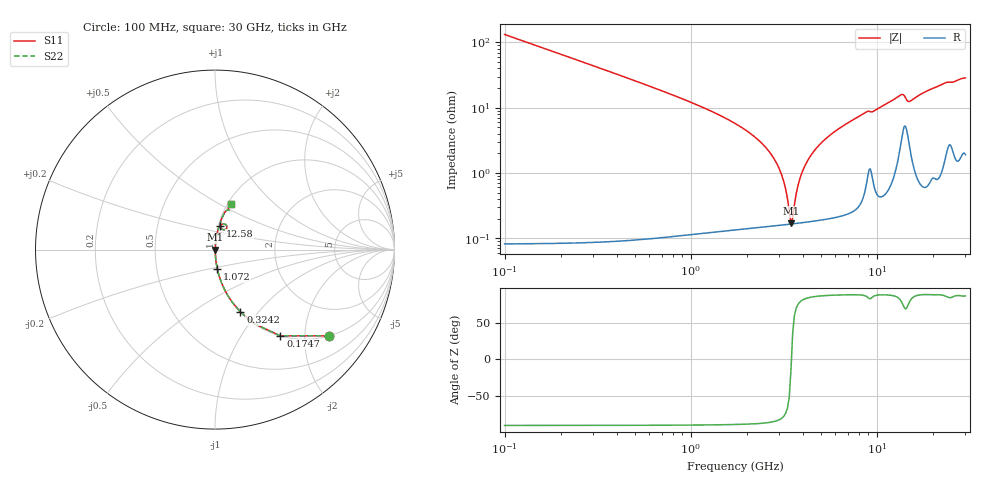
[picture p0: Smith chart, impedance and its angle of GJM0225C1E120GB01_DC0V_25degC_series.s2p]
!Murata Part Number: GJM0225C1E120GB01
!These Parameters are Measured in Series Mode Connection
!  o--ll--o
!Port1  Port2
!  o------o
!Operation Temp=25[degC], DC Bias Voltage=0[V]
!Freq. Start=100[MHz] Stop=30[GHz], 401[Steps]
!Data Generated on Feb 1, 2023
# Hz S RI R 50
!Freq.(Hz) S11(Real) S11(Imag) S21(Real) S21(Imag) S12(Real) S12(Imag) S22(Real) S22(Imag)
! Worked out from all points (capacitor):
!   401 points, 100 MHz to 30 GHz, reference 50 ohm
!   read as one part in series: C = 12 pF near 249.5 MHz
!   lowest |Z| = 170 mohm at 3.464 GHz (marker M1)
!   series resonance near 3.483 GHz, so ESL is about 170 pH
!   S11 on the Smith chart (normalised r, x): 100 MHz: 1.00, -2.65; 174.8 MHz: 1.00, -1.51; 324.2 MHz: 1.00, -0.81; 1.072 GHz: 1.00, -0.22; 12.58 GHz: 1.02, +0.27; 30 GHz: 1.04, +0.57
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1e8  0.6371 -0.4805  0.3629 0.4805  0.3629 0.4805  0.6371 -0.4805
1.7475e8  0.3644 -0.4807  0.6356 0.4807  0.6356 0.4807  0.3644 -0.4807
3.2425e8  0.1416 -0.3476  0.8584 0.3476  0.8584 0.3476  0.1416 -0.3476
5.485e8  0.0534 -0.2228  0.9466 0.2228  0.9466 0.2228  0.0534 -0.2228
1.07175e9  0.0135 -0.1101  0.9865 0.1101  0.9865 0.1101  0.0135 -0.1101
2.71625e9  0.00189 -0.019  0.9981 0.019  0.9981 0.019  0.00189 -0.019
3.09e9  0.00167 -0.00907  0.9983 0.00907  0.9983 0.00907  0.00167 -0.00907
3.389e9  0.00164 -0.00206  0.9984 0.00206  0.9984 0.00206  0.00164 -0.00206
3.46375e9  0.00164 -0.000408  0.9984 0.000408  0.9984 0.000408  0.00164 -0.000408
3.61325e9  0.00168 0.00279  0.9983 -0.00279  0.9983 -0.00279  0.00168 0.00279
3.8375e9  0.00176 0.00736  0.9982 -0.00736  0.9982 -0.00736  0.00176 0.00736
4.1365e9  0.00192 0.0131  0.9981 -0.0131  0.9981 -0.0131  0.00192 0.0131
4.51025e9  0.0022 0.0198  0.9978 -0.0198  0.9978 -0.0198  0.0022 0.0198
5.10825e9  0.00279 0.0298  0.9972 -0.0298  0.9972 -0.0298  0.00279 0.0298
7.276e9  0.0063 0.0618  0.9937 -0.0618  0.9937 -0.0618  0.0063 0.0618
1.01165e10  0.0136 0.0944  0.9864 -0.0944  0.9864 -0.0944  0.0136 0.0944
1.258325e10  0.0282 0.1321  0.9718 -0.1321  0.9718 -0.1321  0.0282 0.1321
1.37045e10  0.0567 0.1412  0.9433 -0.1412  0.9433 -0.1412  0.0567 0.1412
1.505e10  0.0379 0.1152  0.9621 -0.1152  0.9621 -0.1152  0.0379 0.1152
2.005825e10  0.0448 0.1869  0.9552 -0.1869  0.9552 -0.1869  0.0448 0.1869
2.50665e10  0.0772 0.2188  0.9228 -0.2188  0.9228 -0.2188  0.0772 0.2188
3e10  0.0902 0.2551  0.9098 -0.2551  0.9098 -0.2551  0.0902 0.2551
